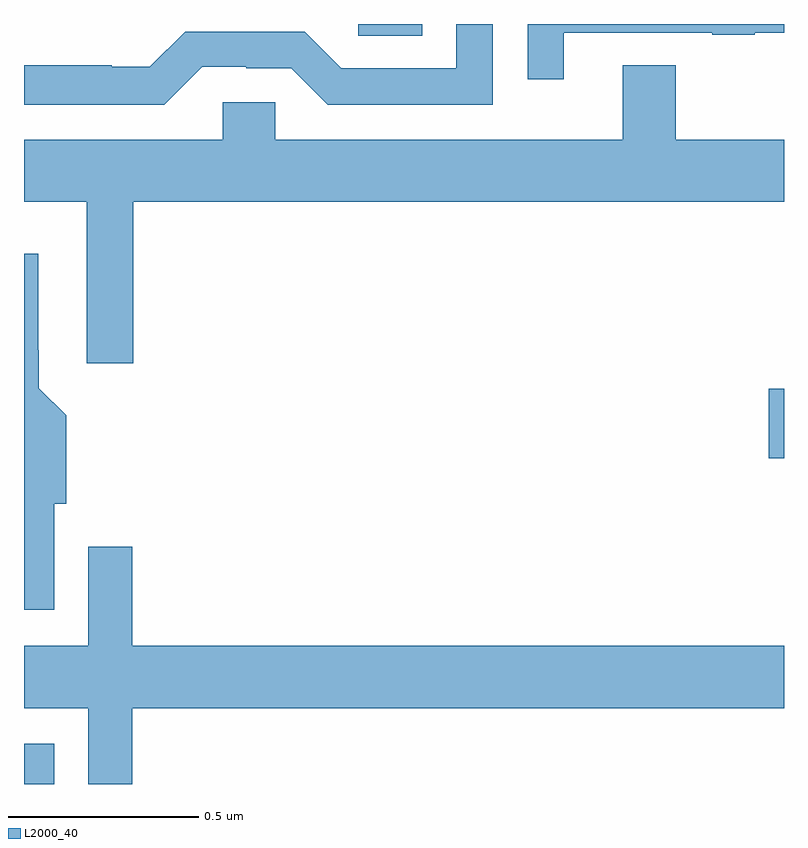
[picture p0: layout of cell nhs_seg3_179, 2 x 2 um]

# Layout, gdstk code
import gdstk
lib = gdstk.Library(unit=1e-6, precision=1e-09)
def R(c, l, rs):  # rectangles x0, y0, x1, y1
    for r in rs: c.add(gdstk.rectangle(r[:2], r[2:], *l))
def P(c, l, *ps):  # polygons
    for p in ps: c.add(gdstk.Polygon(p, *l))
L2000_40 = (2000, 40)

nhs_seg3_179 = lib.new_cell('nhs_seg3_179')
R(nhs_seg3_179, L2000_40, [(113,683.4,113.08,683.506), (114.96,684.257,115,684.44), (113.88,685.369,114.048,685.4)])
P(nhs_seg3_179, L2000_40, [(113.469,685.287),(113.585,685.287),(113.585,685.284),(113.703,685.284),(113.799,685.188),(114.234,685.188),(114.234,685.4),(114.138,685.4),(114.138,685.284),(113.835,685.284),(113.739,685.38),(113.424,685.38),(113.331,685.287),(113.231,685.287),(113.231,685.291),(113,685.291),(113,685.187),(113.369,685.187)],
  [(114.421,685.377),(114.811,685.377),(114.811,685.372),(114.923,685.372),(114.923,685.377),(115,685.377),(115,685.4),(114.325,685.4),(114.325,685.254),(114.421,685.254)],
  [(113.288,684.932),(115,684.932),(115,685.096),(114.715,685.096),(114.715,685.291),(114.575,685.291),(114.575,685.096),(113.661,685.096),(113.661,685.194),(113.523,685.194),(113.523,685.096),(113,685.096),(113,684.932),(113.165,684.932),(113.165,684.507),(113.288,684.507)],
  [(113.08,684.138),(113.111,684.138),(113.111,684.37),(113.039,684.442),(113.039,684.541),(113.038,684.541),(113.038,684.796),(113,684.796),(113,683.858),(113.08,683.858)],
  [(113.285,683.6),(115,683.6),(115,683.764),(113.285,683.764),(113.285,684.025),(113.169,684.025),(113.169,683.764),(113,683.764),(113,683.6),(113.169,683.6),(113.169,683.4),(113.285,683.4)])

lib.write_gds('nhs_seg3_179.gds')
